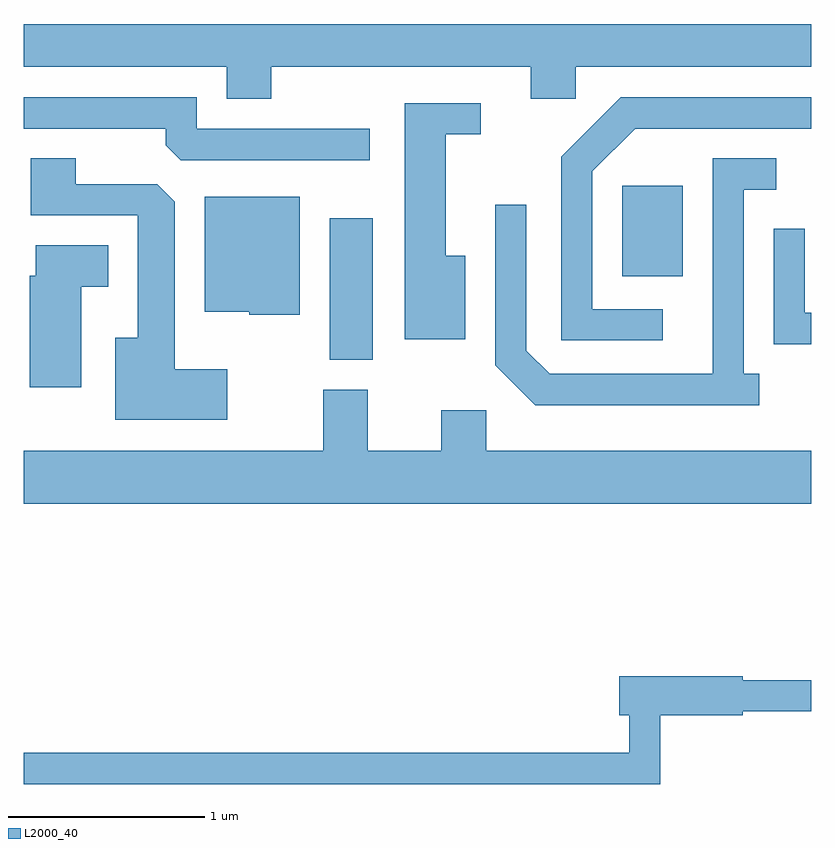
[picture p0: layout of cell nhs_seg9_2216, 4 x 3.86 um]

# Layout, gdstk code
import gdstk
lib = gdstk.Library(unit=1e-6, precision=1e-09)
def R(c, l, rs):  # rectangles x0, y0, x1, y1
    for r in rs: c.add(gdstk.rectangle(r[:2], r[2:], *l))
def P(c, l, *ps):  # polygons
    for p in ps: c.add(gdstk.Polygon(p, *l))
L2000_40 = (2000, 40)

nhs_seg9_2216 = lib.new_cell('nhs_seg9_2216')
R(nhs_seg9_2216, L2000_40, [(251.166,2034.726,251.384,2035.444), (252.651,2035.151,252.959,2035.609)])
P(nhs_seg9_2216, L2000_40, [(249.611,2036.216),(250.641,2036.216),(250.641,2036.051),(250.869,2036.051),(250.869,2036.216),(252.186,2036.216),(252.186,2036.051),(252.414,2036.051),(252.414,2036.216),(253.611,2036.216),(253.611,2036.432),(249.611,2036.432)],
  [(251.368,2035.899),(250.489,2035.899),(250.489,2036.059),(249.611,2036.059),(249.611,2035.901),(250.331,2035.901),(250.331,2035.817),(250.407,2035.741),(251.368,2035.741)],
  [(252.858,2034.984),(252.499,2034.984),(252.499,2035.684),(252.717,2035.901),(253.611,2035.901),(253.611,2036.059),(252.644,2036.059),(252.341,2035.757),(252.341,2034.826),(252.858,2034.826)],
  [(251.854,2035.254),(251.754,2035.254),(251.754,2035.871),(251.933,2035.871),(251.933,2036.029),(251.546,2036.029),(251.546,2034.831),(251.854,2034.831)],
  [(250.644,2034.679),(250.379,2034.679),(250.379,2035.529),(250.289,2035.619),(249.874,2035.619),(249.874,2035.749),(249.646,2035.749),(249.646,2035.461),(250.191,2035.461),(250.191,2034.839),(250.076,2034.839),(250.076,2034.421),(250.644,2034.421)],
  [(253.348,2034.654),(253.269,2034.654),(253.269,2035.591),(253.433,2035.591),(253.433,2035.749),(253.111,2035.749),(253.111,2034.654),(252.282,2034.654),(252.164,2034.772),(252.164,2035.513),(252.006,2035.513),(252.006,2034.699),(252.209,2034.496),(253.348,2034.496)],
  [(251.014,2035.554),(250.531,2035.554),(250.531,2034.971),(250.755,2034.971),(250.755,2034.956),(251.014,2034.956)],
  [(253.611,2034.964),(253.579,2034.964),(253.579,2035.393),(253.421,2035.393),(253.421,2034.806),(253.611,2034.806)],
  [(249.904,2035.096),(250.039,2035.096),(250.039,2035.309),(249.671,2035.309),(249.671,2035.154),(249.641,2035.154),(249.641,2034.586),(249.904,2034.586)],
  [(253.611,2034.264),(251.959,2034.264),(251.959,2034.469),(251.731,2034.469),(251.731,2034.264),(251.359,2034.264),(251.359,2034.574),(251.131,2034.574),(251.131,2034.264),(249.611,2034.264),(249.611,2033.996),(253.611,2033.996)],
  [(252.844,2032.921),(253.264,2032.921),(253.264,2032.941),(253.611,2032.941),(253.611,2033.099),(253.264,2033.099),(253.264,2033.119),(252.636,2033.119),(252.636,2032.921),(252.686,2032.921),(252.686,2032.729),(249.611,2032.729),(249.611,2032.571),(252.844,2032.571)])

lib.write_gds('nhs_seg9_2216.gds')
